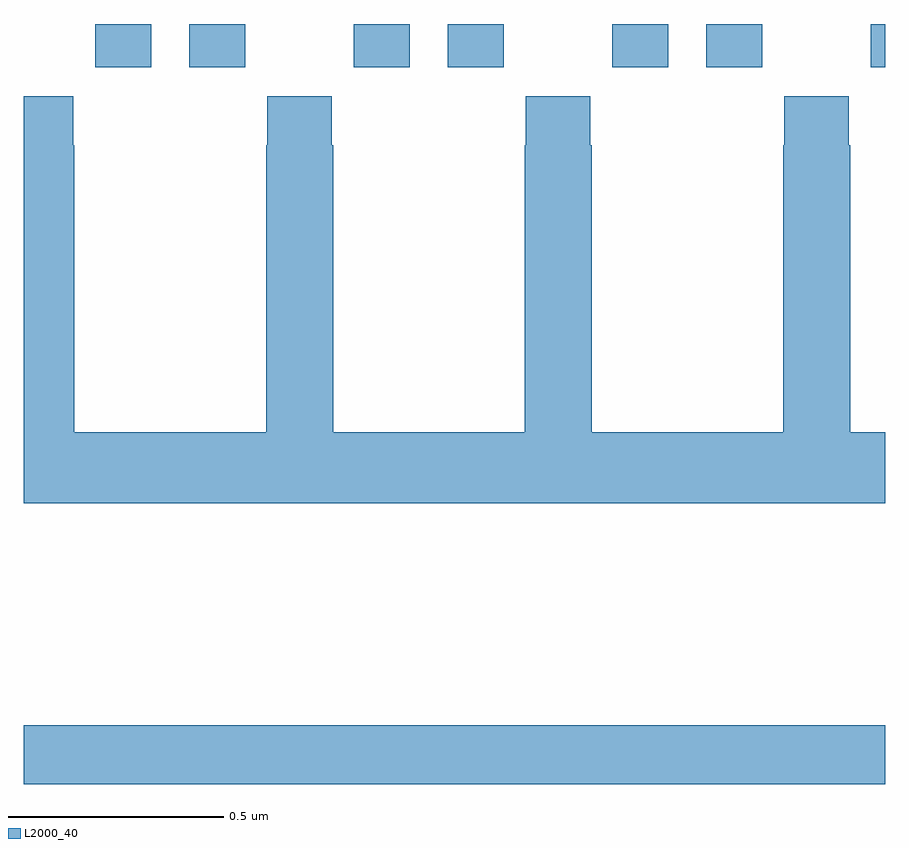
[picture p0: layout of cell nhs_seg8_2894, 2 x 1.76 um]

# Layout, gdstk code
import gdstk
lib = gdstk.Library(unit=1e-6, precision=1e-09)
def R(c, l, rs):  # rectangles x0, y0, x1, y1
    for r in rs: c.add(gdstk.rectangle(r[:2], r[2:], *l))
def P(c, l, *ps):  # polygons
    for p in ps: c.add(gdstk.Polygon(p, *l))
L2000_40 = (2000, 40)

nhs_seg8_2894 = lib.new_cell('nhs_seg8_2894')
R(nhs_seg8_2894, L2000_40, [(149,1161.136,151,1161.272), (149.166,1162.8,149.296,1162.9), (149.384,1162.8,149.514,1162.9), (149.766,1162.8,149.896,1162.9), (149.984,1162.8,150.114,1162.9), (150.366,1162.8,150.496,1162.9), (150.584,1162.8,150.714,1162.9), (150.966,1162.8,151,1162.9)])
P(nhs_seg8_2894, L2000_40, [(151,1161.952),(150.918,1161.952),(150.918,1162.619),(150.915,1162.619),(150.915,1162.732),(150.765,1162.732),(150.765,1162.619),(150.763,1162.619),(150.763,1161.952),(150.318,1161.952),(150.318,1162.619),(150.315,1162.619),(150.315,1162.732),(150.165,1162.732),(150.165,1162.619),(150.163,1162.619),(150.163,1161.952),(149.718,1161.952),(149.718,1162.619),(149.715,1162.619),(149.715,1162.732),(149.565,1162.732),(149.565,1162.619),(149.563,1162.619),(149.563,1161.952),(149.118,1161.952),(149.118,1162.619),(149.115,1162.619),(149.115,1162.732),(149,1162.732),(149,1161.788),(151,1161.788)])

lib.write_gds('nhs_seg8_2894.gds')
